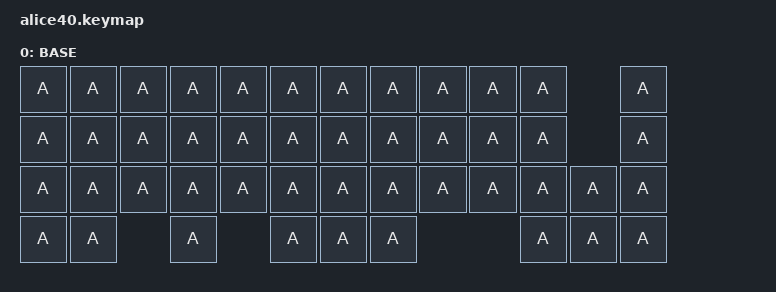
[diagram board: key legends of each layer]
#include <behaviors.dtsi>
#include <dt-bindings/zmk/keys.h>
#include <dt-bindings/zmk/bt.h>
#include <dt-bindings/zmk/outputs.h>

/ {

    keymap {
        compatible = "zmk,keymap";

        base_layer {
            label = "BASE";
            bindings = <
&kp A &kp A &kp A &kp A &kp A &kp A      &kp A &kp A &kp A &kp A &kp A       &kp A
&kp A &kp A &kp A &kp A &kp A &kp A      &kp A &kp A &kp A &kp A &kp A       &kp A
&kp A &kp A &kp A &kp A &kp A &kp A      &kp A &kp A &kp A &kp A &kp A &kp A &kp A
&kp A &kp A		  &kp A       &kp A      &kp A &kp A             &kp A &kp A &kp A
            >;

        };
    };
};
